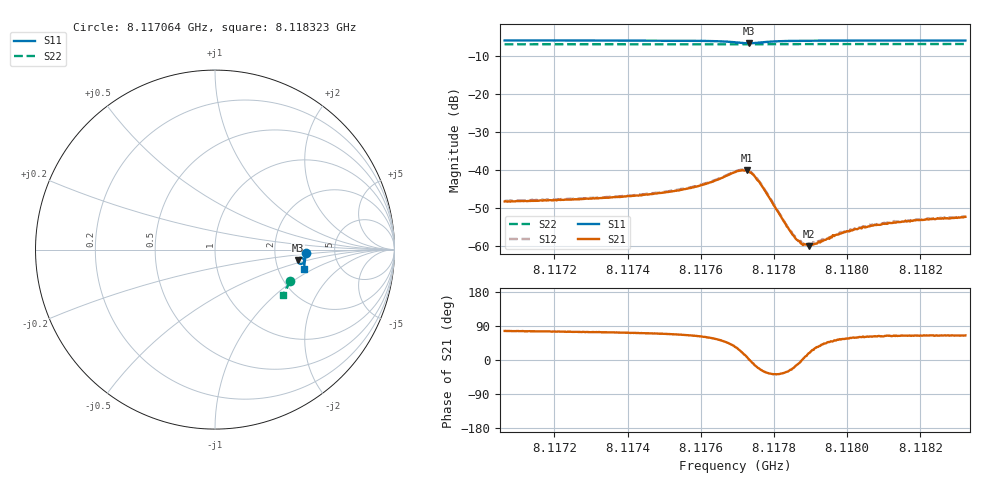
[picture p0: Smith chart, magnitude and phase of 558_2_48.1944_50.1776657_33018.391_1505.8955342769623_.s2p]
#  HZ  S  RI  R  50.00
! Rohde & Schwarz Vector Network Analyzer
! Rohde-Schwarz,ZNB20-2Port,1311601062101988,3.16
! Created: UTC 3/20/2024, 12:01:04 PM
! freq[Hz]  re:S11  im:S11  re:S21  im:S21  re:S12  im:S12  re:S22  im:S22
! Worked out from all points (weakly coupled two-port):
!   401 points, 8.117064 GHz to 8.118323 GHz, reference 50 ohm
!   highest |S21| = -39.95 dB at 8.117725 GHz (marker M1); lowest = -60.0 dB at 8.117895 GHz (marker M2)
!   lowest |S11| = -6.7 dB at 8.117731 GHz (marker M3), VSWR 2.74, Z = 133 - j20.5 ohm
!   |S11| at or under -10 dB: nowhere
!   |S22| runs from -6.9 to -6.8 dB; largest |S21 - S12| = 0.00038
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8.1170638e9  0.5064 -0.0204  0.000896 0.00378  0.000968 0.00384  0.4173 -0.1727
8.1172747e9  0.5048 -0.0374  0.00117 0.00401  0.00118 0.0041  0.4119 -0.1864
8.1174857e9  0.5014 -0.0565  0.00177 0.00468  0.00185 0.00472  0.4061 -0.2002
8.1175959e9  0.4964 -0.0695  0.00288 0.00553  0.00299 0.00562  0.4027 -0.2073
8.1176368e9  0.4911 -0.0753  0.00401 0.00602  0.00411 0.00612  0.4012 -0.2101
8.1176935e9  0.473 -0.0793  0.00776 0.00536  0.00796 0.00547  0.3986 -0.2133
8.1177092e9  0.4654 -0.0746  0.00911 0.00391  0.00938 0.00394  0.3977 -0.214
8.1177249e9  0.4608 -0.0649  0.00993 0.00158  0.00999 0.00134  0.3973 -0.2145
8.1177312e9  0.4607 -0.0604  0.0097 0.000337  0.00983 0.000402  0.3974 -0.2146
8.117747e9  0.4658 -0.0502  0.00814 -0.00196  0.00825 -0.00191  0.3972 -0.2152
8.1177659e9  0.4762 -0.0454  0.00565 -0.00285  0.00578 -0.00298  0.3971 -0.2161
8.117832e9  0.4953 -0.0555  0.00166 -0.00104  0.00165 -0.00108  0.3959 -0.2208
8.1178572e9  0.4972 -0.0602  0.00124 -0.000396  0.00129 -0.000417  0.3951 -0.2226
8.1178729e9  0.4979 -0.0626  0.0011 -8.72e-05  0.00118 -3.9e-05  0.3947 -0.2236
8.1178823e9  0.4984 -0.0641  0.00106 0.000107  0.00107 0.000113  0.3944 -0.2242
8.1178949e9  0.4985 -0.0659  0.000956 0.000308  0.00105 0.000311  0.3938 -0.225
8.1179044e9  0.4986 -0.0672  0.000959 0.000475  0.000988 0.000459  0.3936 -0.2257
8.1179957e9  0.4988 -0.0777  0.000858 0.00128  0.000902 0.00131  0.3907 -0.2314
8.1180618e9  0.4982 -0.084  0.000851 0.00162  0.000918 0.00169  0.3884 -0.2356
8.1181153e9  0.4974 -0.0887  0.000889 0.00183  0.000905 0.00186  0.3866 -0.2389
8.1181846e9  0.4965 -0.0946  0.000943 0.00198  0.000953 0.002  0.3841 -0.2431
8.1183231e9  0.4943 -0.1058  0.00104 0.00221  0.00109 0.00221  0.3793 -0.2517
